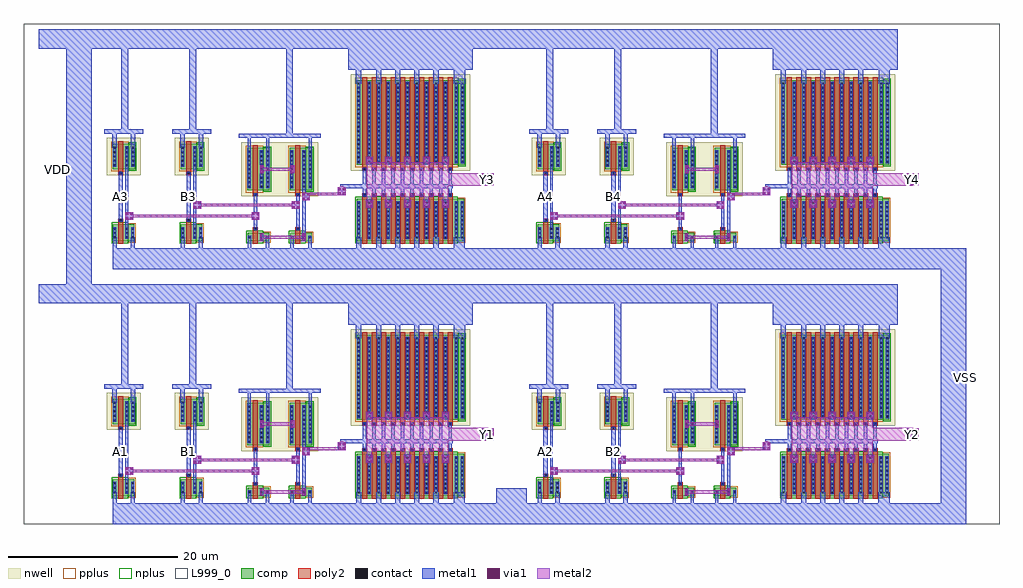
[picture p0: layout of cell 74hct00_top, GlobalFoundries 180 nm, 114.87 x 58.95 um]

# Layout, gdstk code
import gdstk
lib = gdstk.Library(unit=1e-6, precision=1e-09)
def R(c, l, rs):  # rectangles x0, y0, x1, y1
    for r in rs: c.add(gdstk.rectangle(r[:2], r[2:], *l))
def A(c, l, x, y, w, h, nx, ny, dx, dy):  # array of equal rectangles
    R(c, l, [(x+i*dx, y+j*dy, x+i*dx+w, y+j*dy+h) for i in range(nx) for j in range(ny)])
def P(c, l, *ps):  # polygons
    for p in ps: c.add(gdstk.Polygon(p, *l))
nwell = (21, 0)
comp = (22, 0)
poly2 = (30, 0)
pplus = (31, 0)
nplus = (32, 0)
contact = (33, 0)
metal1 = (34, 0)
via1 = (35, 0)
metal2 = (36, 0)
L999_0 = (999, 0)

nfet = lib.new_cell('nfet')
R(nfet, comp, [(-0.42,0,0,2), (0,0,0.98,2), (0.98,0,1.4,2), (1.4,0,2.11,2)])
R(nfet, poly2, [(0.19,-0.3,0.79,2.3), (0.19,2.3,0.79,2.66)])
R(nfet, pplus, [(1.4,-0.17,2.28,2.17)])
R(nfet, nplus, [(-0.59,-0.24,1.4,2.24)])
A(nfet, contact, -0.32, 0.38, 0.22, 0.22, 1, 3, 0, 0.51)
A(nfet, contact, 1.08, 0.38, 0.22, 0.22, 1, 3, 0, 0.51)
A(nfet, contact, 1.79, 0.38, 0.22, 0.22, 1, 3, 0, 0.51)
R(nfet, contact, [(0.38,2.37,0.6,2.59)])
R(nfet, metal1, [(-0.4,0.3,-0.02,1.7), (1,0.3,1.38,1.7), (1.71,0.3,2.09,1.7), (0.3,2.289,0.68,2.671)])
R(nfet, L999_0, [(-0.593,-0.303,2.283,2.674)])

pfet = lib.new_cell('pfet')
R(pfet, nwell, [(-1.15,-0.69,2.86,3.69)])
R(pfet, comp, [(-0.46,0,0,3), (0,0,0.98,3), (0.98,0,1.44,3), (1.44,0,2.17,3)])
R(pfet, poly2, [(0.19,-0.68,0.79,-0.3), (0.19,-0.3,0.79,3.3)])
R(pfet, pplus, [(-0.63,-0.24,1.44,3.24)])
R(pfet, nplus, [(1.44,-0.17,2.34,3.17)])
A(pfet, contact, -0.34, 0.37, 0.22, 0.22, 1, 5, 0, 0.51)
A(pfet, contact, 1.1, 0.37, 0.22, 0.22, 1, 5, 0, 0.51)
A(pfet, contact, 1.83, 0.37, 0.22, 0.22, 1, 5, 0, 0.51)
R(pfet, contact, [(0.38,-0.6,0.6,-0.38)])
R(pfet, metal1, [(0.3,-0.681,0.68,-0.299), (-0.42,0.29,-0.04,2.71), (1.02,0.29,1.4,2.71), (1.75,0.29,2.13,2.71)])
R(pfet, L999_0, [(-1.153,-0.693,2.863,3.693)])

inv_skewed = lib.new_cell('inv_skewed')
R(inv_skewed, metal1, [(-0.47,-1.3,3.16,-0.8), (-0.46,-0.8,0.04,0.5), (1.65,-0.8,2.15,0.5), (1.05,0.5,1.35,11.01), (0.24,2.34,0.74,8.15), (-0.48,11.01,0.02,13.19), (1.69,11.01,2.19,13.19), (-1.45,12.69,3.16,13.19)])
R(inv_skewed, L999_0, [(-1.453,-1.303,3.163,13.193)])
inv_skewed.add(gdstk.Reference(nfet, (0,0)))
inv_skewed.add(gdstk.Reference(pfet, (0,8.5)))
inv_skewed.add(gdstk.Label('VDD', (0.855,12.94), layer=34, texttype=10))
inv_skewed.add(gdstk.Label('VSS', (0.855,-1.05), layer=34, texttype=10))
inv_skewed.add(gdstk.Label('IN', (0.49,5.245), layer=34, texttype=10))
inv_skewed.add(gdstk.Label('OUT', (1.2,5.245), layer=34, texttype=10))

nfet_1 = lib.new_cell('nfet$1')
R(nfet_1, comp, [(-0.42,0,0,1), (0,0,0.98,1), (0.98,0,1.4,1), (1.4,0,2.11,1)])
R(nfet_1, poly2, [(0.19,-0.3,0.79,1.3), (0.19,1.3,0.79,1.66)])
R(nfet_1, pplus, [(1.4,-0.17,2.28,1.17)])
R(nfet_1, nplus, [(-0.59,-0.24,1.4,1.24)])
R(nfet_1, contact, [(-0.32,0.39,-0.1,0.61), (1.08,0.39,1.3,0.61), (1.79,0.39,2.01,0.61), (0.38,1.37,0.6,1.59)])
R(nfet_1, metal1, [(-0.4,0.309,-0.02,0.691), (1,0.309,1.38,0.691), (1.71,0.309,2.09,0.691), (0.3,1.289,0.68,1.671)])
R(nfet_1, L999_0, [(-0.593,-0.303,2.283,1.674)])

pfet_1 = lib.new_cell('pfet$1')
R(pfet_1, nwell, [(-1.15,-0.69,2.86,5.69)])
R(pfet_1, comp, [(-0.46,0,0,5), (0,0,0.98,5), (0.98,0,1.44,5), (1.44,0,2.17,5)])
R(pfet_1, poly2, [(0.19,-0.68,0.79,-0.3), (0.19,-0.3,0.79,5.3)])
R(pfet_1, pplus, [(-0.63,-0.24,1.44,5.24)])
R(pfet_1, nplus, [(1.44,-0.17,2.34,5.17)])
A(pfet_1, contact, -0.34, 0.35, 0.22, 0.22, 1, 9, 0, 0.51)
A(pfet_1, contact, 1.1, 0.35, 0.22, 0.22, 1, 9, 0, 0.51)
A(pfet_1, contact, 1.83, 0.35, 0.22, 0.22, 1, 9, 0, 0.51)
R(pfet_1, contact, [(0.38,-0.6,0.6,-0.38)])
R(pfet_1, metal1, [(0.3,-0.681,0.68,-0.299), (-0.42,0.27,-0.04,4.73), (1.02,0.27,1.4,4.73), (1.75,0.27,2.13,4.73)])
R(pfet_1, L999_0, [(-1.153,-0.693,2.863,5.693)])

nor2 = lib.new_cell('nor2')
R(nor2, nwell, [(2.86,5.31,3.85,11.69)])
R(nor2, metal1, [(-1.45,-1.3,8.16,-0.8), (-0.41,-0.8,-0.01,0.59), (1.7,-0.8,2.1,0.59), (4.59,-0.8,4.99,0.59), (6.7,-0.8,7.1,0.59), (1,0.05,1.45,0.95), (5.95,0.05,6.4,0.95), (6,0.59,6.4,10.53), (0.29,1.34,0.69,5.65), (5.29,1.34,5.69,5.65), (1.025,8.05,1.49,8.95), (4.58,8.05,5.045,8.95), (-0.43,10.53,-0.03,12.69), (1.74,10.53,2.14,12.69), (6.74,10.53,7.14,12.69), (-1.45,12.19,8.16,12.69)])
R(nor2, via1, [(1.06,0.11,1.32,0.37), (6.01,0.11,6.27,0.37), (1.06,0.63,1.32,0.89), (6.01,0.63,6.27,0.89), (1.085,8.11,1.345,8.37), (4.64,8.11,4.9,8.37), (1.085,8.63,1.345,8.89), (4.64,8.63,4.9,8.89)])
R(nor2, metal2, [(1,0.05,1.45,0.95), (5.95,0.05,6.4,0.95), (1.45,0.3,6.19,0.7), (1.025,8.05,1.49,8.95), (4.58,8.05,5.045,8.95), (1.475,8.3,4.77,8.7)])
R(nor2, L999_0, [(-1.453,-1.303,8.163,12.693)])
nor2.add(gdstk.Reference(nfet_1, (0,0)))
nor2.add(gdstk.Reference(nfet_1, (5,0)))
nor2.add(gdstk.Reference(pfet_1, (0,6)))
nor2.add(gdstk.Reference(pfet_1, (5,6)))
nor2.add(gdstk.Label('VDD', (3.355,12.44), layer=34, texttype=10))
nor2.add(gdstk.Label('VSS', (3.355,-1.05), layer=34, texttype=10))
nor2.add(gdstk.Label('A', (0.49,3.495), layer=34, texttype=10))
nor2.add(gdstk.Label('B', (5.49,3.495), layer=34, texttype=10))
nor2.add(gdstk.Label('OUT', (6.2,3.48), layer=34, texttype=10))

nfet_2 = lib.new_cell('nfet$2')
R(nfet_2, comp, [(-0.42,0,0,5), (0,0,11.06,5), (11.06,0,11.48,5), (11.48,0,12.19,5)])
A(nfet_2, poly2, 0.19, -0.3, 0.6, 5.6, 10, 1, 1.12, 0)
A(nfet_2, poly2, 0.19, 5.3, 0.6, 0.36, 10, 1, 1.12, 0)
R(nfet_2, pplus, [(11.48,-0.17,12.36,5.17)])
R(nfet_2, nplus, [(-0.59,-0.24,11.48,5.24)])
A(nfet_2, contact, -0.32, 0.35, 0.22, 0.22, 1, 9, 0, 0.51)
A(nfet_2, contact, 0.94, 0.35, 0.22, 0.22, 9, 9, 1.12, 0.51)
A(nfet_2, contact, 11.16, 0.35, 0.22, 0.22, 1, 9, 0, 0.51)
A(nfet_2, contact, 11.87, 0.35, 0.22, 0.22, 1, 9, 0, 0.51)
A(nfet_2, contact, 0.38, 5.37, 0.22, 0.22, 10, 1, 1.12, 0)
A(nfet_2, metal1, 0.86, 0.27, 0.38, 4.46, 9, 1, 1.12, 0)
A(nfet_2, metal1, 0.3, 5.289, 0.38, 0.382, 10, 1, 1.12, 0)
R(nfet_2, metal1, [(-0.4,0.27,-0.02,4.73), (11.08,0.27,11.46,4.73), (11.79,0.27,12.17,4.73)])
R(nfet_2, L999_0, [(-0.593,-0.303,12.363,5.674)])

pfet_2 = lib.new_cell('pfet$2')
R(pfet_2, nwell, [(-1.15,-0.69,12.94,10.69)])
R(pfet_2, comp, [(-0.46,0,0,10), (0,0,11.06,10), (11.06,0,11.52,10), (11.52,0,12.25,10)])
A(pfet_2, poly2, 0.19, -0.68, 0.6, 0.38, 10, 1, 1.12, 0)
A(pfet_2, poly2, 0.19, -0.3, 0.6, 10.6, 10, 1, 1.12, 0)
R(pfet_2, pplus, [(-0.63,-0.24,11.52,10.24)])
R(pfet_2, nplus, [(11.52,-0.17,12.42,10.17)])
A(pfet_2, contact, 0.38, -0.6, 0.22, 0.22, 10, 1, 1.12, 0)
A(pfet_2, contact, -0.34, 0.3, 0.22, 0.22, 1, 19, 0, 0.51)
A(pfet_2, contact, 0.94, 0.3, 0.22, 0.22, 9, 19, 1.12, 0.51)
A(pfet_2, contact, 11.18, 0.3, 0.22, 0.22, 1, 19, 0, 0.51)
A(pfet_2, contact, 11.91, 0.3, 0.22, 0.22, 1, 19, 0, 0.51)
A(pfet_2, metal1, 0.3, -0.681, 0.38, 0.382, 10, 1, 1.12, 0)
A(pfet_2, metal1, 0.86, 0.22, 0.38, 9.56, 9, 1, 1.12, 0)
R(pfet_2, metal1, [(-0.42,0.22,-0.04,9.78), (11.1,0.22,11.48,9.78), (11.83,0.22,12.21,9.78)])
R(pfet_2, L999_0, [(-1.153,-0.693,12.943,10.693)])

inv_out = lib.new_cell('inv_out')
A(inv_out, metal1, 1.87, -0.8, 0.6, 1.27, 4, 1, 2.24, 0)
A(inv_out, metal1, 0.6, 3.98, 0.9, 0.9, 5, 2, 2.24, 5.09)
A(inv_out, metal1, 0.29, 5.34, 0.4, 3.31, 10, 1, 1.12, 0)
A(inv_out, metal1, 1.87, 18.58, 0.6, 4.11, 4, 1, 2.24, 0)
R(inv_out, metal1, [(-0.51,-0.8,0.09,0.47), (10.97,-0.8,11.57,0.47), (11.57,-0.8,12.28,0.47), (0.19,6.25,10.87,6.75), (-0.53,18.58,0.07,22.69), (10.99,18.58,11.59,22.69), (11.59,18.58,12.32,22.69), (-1.45,20.2,13.24,22.7)])
P(inv_out, metal1, [(-29.17,-3.3),(-29.17,-0.8),(21.215,-0.8),(21.215,-1.955),(21.215,-3.3)])
R(inv_out, via1, [(0.66,4.04,0.92,4.3), (1.18,4.04,1.44,4.3), (2.9,4.04,3.16,4.3), (3.42,4.04,3.68,4.3), (5.14,4.04,5.4,4.3), (5.66,4.04,5.92,4.3), (7.38,4.04,7.64,4.3), (7.9,4.04,8.16,4.3), (9.62,4.04,9.88,4.3), (10.14,4.04,10.4,4.3), (0.66,4.56,0.92,4.82), (1.18,4.56,1.44,4.82), (2.9,4.56,3.16,4.82), (3.42,4.56,3.68,4.82), (5.14,4.56,5.4,4.82), (5.66,4.56,5.92,4.82), (7.38,4.56,7.64,4.82), (7.9,4.56,8.16,4.82), (9.62,4.56,9.88,4.82), (10.14,4.56,10.4,4.82), (0.66,9.13,0.92,9.39), (1.18,9.13,1.44,9.39), (2.9,9.13,3.16,9.39), (3.42,9.13,3.68,9.39), (5.14,9.13,5.4,9.39), (5.66,9.13,5.92,9.39), (7.38,9.13,7.64,9.39), (7.9,9.13,8.16,9.39), (9.62,9.13,9.88,9.39), (10.14,9.13,10.4,9.39), (0.66,9.65,0.92,9.91), (1.18,9.65,1.44,9.91), (2.9,9.65,3.16,9.91), (3.42,9.65,3.68,9.91), (5.14,9.65,5.4,9.91), (5.66,9.65,5.92,9.91), (7.38,9.65,7.64,9.91), (7.9,9.65,8.16,9.91), (9.62,9.65,9.88,9.91), (10.14,9.65,10.4,9.91)])
A(inv_out, metal2, 0.6, 3.98, 0.9, 0.9, 5, 2, 2.24, 5.09)
A(inv_out, metal2, 0.75, 4.43, 0.6, 5.09, 5, 1, 2.24, 0)
R(inv_out, metal2, [(0.75,5.3,10.31,9.3)])
R(inv_out, L999_0, [(-29.172,-3.303,21.217,22.702)])
inv_out.add(gdstk.Reference(nfet_2, (0,0)))
inv_out.add(gdstk.Reference(pfet_2, (0,9)))
inv_out.add(gdstk.Label('VDD', (5.895,21.44), layer=34, texttype=10))
inv_out.add(gdstk.Label('VSS', (5.895,-2.05), layer=34, texttype=10))
inv_out.add(gdstk.Label('IN', (5.895,6.5), layer=34, texttype=10))
inv_out.add(gdstk.Label('OUT', (5.895,7.3), layer=36, texttype=10))

nand2_hct = lib.new_cell('nand2_hct')
R(nand2_hct, metal1, [(-0.325,-1.3,44.91,-0.8), (1.05,2.55,1.95,3.45), (15.89,2.55,16.79,3.45), (9.05,3.85,9.95,4.75), (20.635,3.85,21.535,4.75), (21.855,4.85,22.755,5.75), (26.05,5.45,26.95,6.35), (26.35,6.25,29.19,6.75), (42.99,6.59,44.41,8.01), (19.95,12.49,20.75,23.39), (0.57,12.99,1.37,23.39), (8.57,12.99,9.37,23.39), (33.7,22.49,35.7,23.39)])
P(nand2_hct, metal1, [(-9.18,22.7),(-9.18,23.415),(-9.18,24.95),(41.94,24.95),(41.94,22.7)])
A(nand2_hct, via1, 43.05, 6.65, 0.26, 0.26, 3, 3, 0.52, 0.52)
R(nand2_hct, via1, [(1.11,2.61,1.37,2.87), (1.63,2.61,1.89,2.87), (15.95,2.61,16.21,2.87), (16.47,2.61,16.73,2.87), (1.11,3.13,1.37,3.39), (1.63,3.13,1.89,3.39), (15.95,3.13,16.21,3.39), (16.47,3.13,16.73,3.39), (9.11,3.91,9.37,4.17), (9.63,3.91,9.89,4.17), (20.695,3.91,20.955,4.17), (21.215,3.91,21.475,4.17), (9.11,4.43,9.37,4.69), (9.63,4.43,9.89,4.69), (20.695,4.43,20.955,4.69), (21.215,4.43,21.475,4.69), (21.915,4.91,22.175,5.17), (22.435,4.91,22.695,5.17), (21.915,5.43,22.175,5.69), (22.435,5.43,22.695,5.69), (26.11,5.51,26.37,5.77), (26.63,5.51,26.89,5.77), (26.11,6.03,26.37,6.29), (26.63,6.03,26.89,6.29)])
R(nand2_hct, metal2, [(1.05,2.55,1.95,3.45), (15.89,2.55,16.79,3.45), (1.2,2.85,16.34,3.15), (9.05,3.85,9.95,4.75), (20.635,3.85,21.535,4.75), (9.2,4.15,21.34,4.45), (21.855,4.85,22.755,5.75), (22.05,5.45,26.5,5.75), (26.05,5.45,26.95,6.35), (26.35,5.6,26.65,6.5), (34.23,6.55,43.7,8.05), (42.99,6.59,44.41,8.01)])
R(nand2_hct, L999_0, [(-9.182,-3.304,49.918,24.952)])
nand2_hct.add(gdstk.Reference(inv_skewed, (0,0)))
nand2_hct.add(gdstk.Reference(inv_skewed, (8,0)))
nand2_hct.add(gdstk.Reference(nor2, (15.85,0)))
nand2_hct.add(gdstk.Reference(inv_out, (28.7,0)))
nand2_hct.add(gdstk.Label('A', (0.49,5.25), layer=34, texttype=10))
nand2_hct.add(gdstk.Label('B', (8.49,5.25), layer=34, texttype=10))
nand2_hct.add(gdstk.Label('Y', (43.7,7.3), layer=34, texttype=10))
nand2_hct.add(gdstk.Label('VDD', (21.48,23.44), layer=34, texttype=10))
nand2_hct.add(gdstk.Label('VSS', (21.48,-1.05), layer=34, texttype=10))

c_74hct00_top = lib.new_cell('74hct00_top')
R(c_74hct00_top, metal1, [(96.988,-3.25,99.988,29.2), (44.71,-3.05,48.25,0.95), (-5.915,23.19,-2.915,54.95)])
R(c_74hct00_top, L999_0, [(-10.953,-3.305,103.913,55.643)])
c_74hct00_top.add(gdstk.Reference(nand2_hct, (0,0)))
c_74hct00_top.add(gdstk.Reference(nand2_hct, (50,0)))
c_74hct00_top.add(gdstk.Reference(nand2_hct, (0,30)))
c_74hct00_top.add(gdstk.Reference(nand2_hct, (50,30)))
c_74hct00_top.add(gdstk.Label('A1', (0.49,5.25), layer=34, texttype=10))
c_74hct00_top.add(gdstk.Label('B1', (8.49,5.25), layer=34, texttype=10))
c_74hct00_top.add(gdstk.Label('Y1', (43.7,7.3), layer=34, texttype=10))
c_74hct00_top.add(gdstk.Label('A2', (50.49,5.25), layer=34, texttype=10))
c_74hct00_top.add(gdstk.Label('B2', (58.49,5.25), layer=34, texttype=10))
c_74hct00_top.add(gdstk.Label('Y2', (93.7,7.3), layer=34, texttype=10))
c_74hct00_top.add(gdstk.Label('A3', (0.49,35.25), layer=34, texttype=10))
c_74hct00_top.add(gdstk.Label('B3', (8.49,35.25), layer=34, texttype=10))
c_74hct00_top.add(gdstk.Label('Y3', (43.7,37.3), layer=34, texttype=10))
c_74hct00_top.add(gdstk.Label('A4', (50.49,35.25), layer=34, texttype=10))
c_74hct00_top.add(gdstk.Label('B4', (58.49,35.25), layer=34, texttype=10))
c_74hct00_top.add(gdstk.Label('Y4', (93.7,37.3), layer=34, texttype=10))
c_74hct00_top.add(gdstk.Label('VDD', (-6.95,38.44), layer=34, texttype=10))
c_74hct00_top.add(gdstk.Label('VSS', (99.91,13.95), layer=34, texttype=10))

lib.write_gds('74hct00_top.gds')
